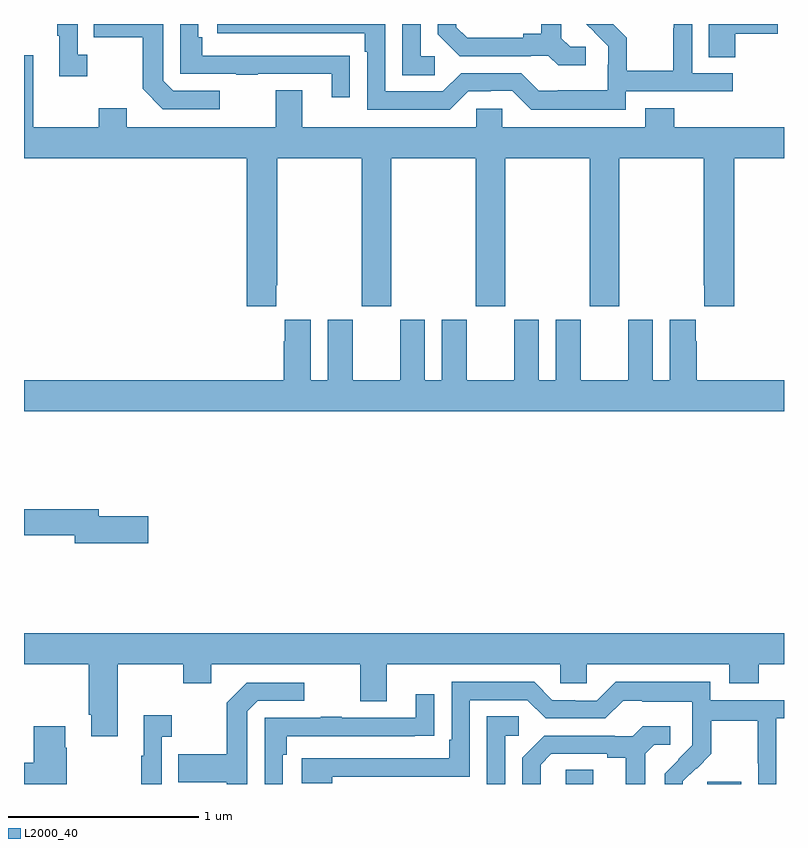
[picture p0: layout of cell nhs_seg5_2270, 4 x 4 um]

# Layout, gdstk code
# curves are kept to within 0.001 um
import gdstk
lib = gdstk.Library(unit=1e-6, precision=1e-09)
def R(c, l, rs):  # rectangles x0, y0, x1, y1
    for r in rs: c.add(gdstk.rectangle(r[:2], r[2:], *l))
def P(c, l, *ps):  # polygons
    for p in ps: c.add(gdstk.Polygon(p, *l))
L2000_40 = (2000, 40)

nhs_seg5_2270 = lib.new_cell('nhs_seg5_2270')
R(nhs_seg5_2270, L2000_40, [(245.85,854.799,245.995,854.873), (246.596,854.799,246.775,854.811)])
P(nhs_seg5_2270, L2000_40, [(244.03,858.447),(243.786,858.447),(243.732,858.501),(243.732,858.799),(243.367,858.799),(243.367,858.73),(243.624,858.73),(243.624,858.457),(243.729,858.351),(244.03,858.351)],
  [(246.744,858.749),(246.967,858.749),(246.967,858.799),(246.605,858.799),(246.605,858.625),(246.744,858.625)],
  [(245.956,858.678),(245.874,858.678),(245.827,858.725),(245.827,858.799),(245.723,858.799),(245.723,858.749),(245.627,858.749),(245.627,858.726),(245.332,858.726),(245.275,858.783),(245.275,858.799),(245.178,858.799),(245.178,858.746),(245.294,858.63),(245.666,858.63),(245.666,858.633),(245.76,858.633),(245.812,858.581),(245.956,858.581)],
  [(246.168,858.444),(246.73,858.444),(246.73,858.54),(246.516,858.54),(246.516,858.799),(246.42,858.799),(246.42,858.776),(246.418,858.776),(246.418,858.553),(246.173,858.553),(246.173,858.727),(246.101,858.799),(245.959,858.799),(246.074,858.682),(246.074,858.585),(246.072,858.585),(246.072,858.451),(245.809,858.451),(245.809,858.447),(245.709,858.447),(245.616,858.54),(245.301,858.54),(245.205,858.444),(244.902,858.444),(244.902,858.799),(244.017,858.799),(244.017,858.75),(244.793,858.75),(244.793,858.653),(244.806,858.653),(244.806,858.348),(245.241,858.348),(245.337,858.444),(245.456,858.444),(245.456,858.447),(245.571,858.447),(245.671,858.347),(246.168,858.347)],
  [(244.715,858.632),(244.613,858.632),(244.613,858.633),(243.938,858.633),(243.938,858.73),(243.918,858.73),(243.918,858.799),(243.822,858.799),(243.822,858.537),(244.117,858.537),(244.117,858.532),(244.229,858.532),(244.229,858.537),(244.619,858.537),(244.619,858.414),(244.715,858.414)],
  [(243.334,858.638),(243.282,858.638),(243.282,858.799),(243.174,858.799),(243.174,858.737),(243.185,858.737),(243.185,858.525),(243.334,858.525)],
  [(245.161,858.63),(245.088,858.63),(245.088,858.799),(244.992,858.799),(244.992,858.529),(245.161,858.529)],
  [(244.327,857.425),(244.332,857.425),(244.332,858.092),(244.777,858.092),(244.777,857.313),(244.932,857.313),(244.932,858.092),(245.377,858.092),(245.377,857.313),(245.532,857.313),(245.532,858.092),(245.977,858.092),(245.977,857.313),(246.132,857.313),(246.132,858.092),(246.577,858.092),(246.577,857.425),(246.581,857.425),(246.581,857.313),(246.737,857.313),(246.737,858.092),(247,858.092),(247,858.256),(246.422,858.256),(246.422,858.355),(246.269,858.355),(246.269,858.256),(245.517,858.256),(245.517,858.354),(245.379,858.354),(245.379,858.256),(244.465,858.256),(244.465,858.451),(244.325,858.451),(244.325,858.256),(243.541,858.256),(243.541,858.355),(243.394,858.355),(243.394,858.256),(243.049,858.256),(243.049,858.634),(243,858.634),(243,858.092),(244.172,858.092),(244.172,857.313),(244.327,857.313)],
  [(247,856.924),(246.542,856.924),(246.542,857.129),(246.535,857.129),(246.535,857.242),(246.398,857.242),(246.398,856.924),(246.31,856.924),(246.31,857.242),(246.179,857.242),(246.179,856.924),(245.929,856.924),(245.929,857.242),(245.798,857.242),(245.798,856.924),(245.71,856.924),(245.71,857.242),(245.579,857.242),(245.579,856.924),(245.329,856.924),(245.329,857.242),(245.198,857.242),(245.198,856.924),(245.11,856.924),(245.11,857.242),(244.979,857.242),(244.979,856.924),(244.729,856.924),(244.729,857.242),(244.598,857.242),(244.598,856.924),(244.51,856.924),(244.51,857.242),(244.373,857.242),(244.373,857.129),(244.367,857.129),(244.367,856.924),(243,856.924),(243,856.76),(247,856.76)],
  [(243.655,856.208),(243.394,856.208),(243.394,856.244),(243,856.244),(243,856.108),(243.266,856.108),(243.266,856.066),(243.655,856.066)],
  [(243.493,855.428),(243.838,855.428),(243.838,855.329),(243.985,855.329),(243.985,855.428),(244.769,855.428),(244.769,855.234),(244.909,855.234),(244.909,855.428),(245.823,855.428),(245.823,855.33),(245.961,855.33),(245.961,855.428),(246.713,855.428),(246.713,855.329),(246.866,855.329),(246.866,855.428),(247,855.428),(247,855.592),(243,855.592),(243,855.428),(243.341,855.428),(243.341,855.163),(243.353,855.163),(243.353,855.051),(243.493,855.051)],
  [(246.467,854.813),(246.537,854.883),(246.54,854.88),(246.617,854.957),(246.617,855.132),(246.862,855.132),(246.862,854.908),(246.864,854.908),(246.864,854.799),(246.96,854.799),(246.96,855.144),(247,855.144),(247,855.24),(246.612,855.24),(246.612,855.337),(246.115,855.337),(246.015,855.237),(245.9,855.237),(245.9,855.24),(245.781,855.24),(245.685,855.336),(245.25,855.336),(245.25,855.031),(245.237,855.031),(245.237,854.934),(244.461,854.934),(244.461,854.804),(244.622,854.804),(244.622,854.838),(245.346,854.838),(245.346,855.24),(245.649,855.24),(245.745,855.144),(246.06,855.144),(246.153,855.237),(246.253,855.237),(246.253,855.233),(246.516,855.233),(246.516,855.099),(246.518,855.099),(246.518,855.002),(246.372,854.854),(246.372,854.799),(246.467,854.799)],
  [(244.176,855.183),(244.23,855.237),(244.474,855.237),(244.474,855.333),(244.173,855.333),(244.068,855.227),(244.068,854.955),(243.811,854.955),(243.811,854.807),(244.068,854.807),(244.068,854.799),(244.176,854.799)],
  [(244.362,854.954),(244.382,854.954),(244.382,855.051),(245.057,855.051),(245.057,855.052),(245.159,855.052),(245.159,855.271),(245.063,855.271),(245.063,855.147),(244.673,855.147),(244.673,855.152),(244.561,855.152),(244.561,855.147),(244.266,855.147),(244.266,854.799),(244.362,854.799)],
  [(243.726,855.047),(243.778,855.047),(243.778,855.16),(243.629,855.16),(243.629,854.947),(243.618,854.947),(243.618,854.799),(243.726,854.799)],
  [(245.532,855.054),(245.605,855.054),(245.605,855.155),(245.436,855.155),(245.436,854.799),(245.532,854.799)],
  [(243.225,854.99),(243.217,854.99),(243.217,855.103),(243.05,855.103),(243.05,854.912),(243,854.912),(243,854.799),(243.225,854.799)],
  [(245.719,854.901),(245.776,854.958),(246.071,854.958),(246.071,854.936),(246.167,854.936),(246.167,854.799),(246.271,854.799),(246.271,854.959),(246.318,855.006),(246.4,855.006),(246.4,855.103),(246.256,855.103),(246.204,855.051),(246.11,855.051),(246.11,855.054),(245.738,855.054),(245.622,854.938),(245.622,854.799),(245.719,854.799)])

lib.write_gds('nhs_seg5_2270.gds')
